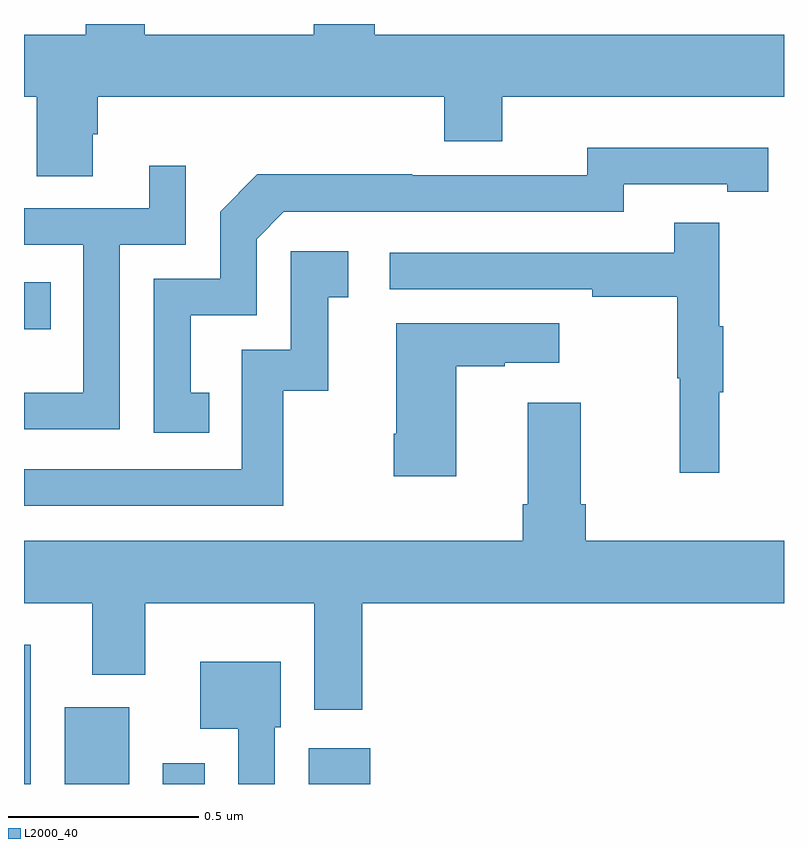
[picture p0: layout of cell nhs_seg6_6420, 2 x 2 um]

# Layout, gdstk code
import gdstk
lib = gdstk.Library(unit=1e-6, precision=1e-09)
def R(c, l, rs):  # rectangles x0, y0, x1, y1
    for r in rs: c.add(gdstk.rectangle(r[:2], r[2:], *l))
def P(c, l, *ps):  # polygons
    for p in ps: c.add(gdstk.Polygon(p, *l))
L2000_40 = (2000, 40)

nhs_seg6_6420 = lib.new_cell('nhs_seg6_6420')
R(nhs_seg6_6420, L2000_40, [(195,973.5,195.018,973.867), (195.107,973.5,195.277,973.702), (195.365,973.5,195.475,973.555), (195.749,973.5,195.911,973.594), (195,974.697,195.071,974.82)])
P(nhs_seg6_6420, L2000_40, [(195.181,975.21),(195.194,975.21),(195.194,975.308),(196.106,975.308),(196.106,975.191),(196.258,975.191),(196.258,975.308),(197,975.308),(197,975.472),(195.923,975.472),(195.923,975.5),(195.763,975.5),(195.763,975.472),(195.318,975.472),(195.318,975.5),(195.163,975.5),(195.163,975.472),(195,975.472),(195,975.308),(195.034,975.308),(195.034,975.1),(195.181,975.1)],
  [(195.488,974.529),(195.439,974.529),(195.439,974.733),(195.612,974.733),(195.612,974.934),(195.684,975.006),(196.578,975.006),(196.578,975.078),(196.85,975.078),(196.85,975.058),(196.958,975.058),(196.958,975.174),(196.85,975.174),(196.85,975.175),(196.482,975.175),(196.482,975.102),(196.022,975.102),(196.022,975.104),(195.614,975.104),(195.516,975.006),(195.516,974.829),(195.342,974.829),(195.342,974.424),(195.488,974.424)],
  [(195.252,974.919),(195.426,974.919),(195.426,975.127),(195.329,975.127),(195.329,975.015),(195,975.015),(195,974.919),(195.156,974.919),(195.156,974.53),(195,974.53),(195,974.433),(195.252,974.433)],
  [(196.829,974.531),(196.84,974.531),(196.84,974.705),(196.829,974.705),(196.829,974.977),(196.711,974.977),(196.711,974.898),(195.963,974.898),(195.963,974.802),(196.495,974.802),(196.495,974.782),(196.719,974.782),(196.719,974.568),(196.726,974.568),(196.726,974.319),(196.829,974.319)],
  [(195.682,974.535),(195.8,974.535),(195.8,974.781),(195.853,974.781),(195.853,974.902),(195.702,974.902),(195.702,974.643),(195.573,974.643),(195.573,974.328),(195,974.328),(195,974.232),(195.682,974.232)],
  [(196.138,974.599),(196.265,974.599),(196.265,974.609),(196.408,974.609),(196.408,974.713),(195.98,974.713),(195.98,974.422),(195.973,974.422),(195.973,974.31),(196.138,974.31)],
  [(195.89,973.976),(197,973.976),(197,974.14),(196.478,974.14),(196.478,974.236),(196.465,974.236),(196.465,974.503),(196.325,974.503),(196.325,974.236),(196.313,974.236),(196.313,974.14),(195,974.14),(195,973.976),(195.179,973.976),(195.179,973.787),(195.319,973.787),(195.319,973.976),(195.764,973.976),(195.764,973.695),(195.89,973.695)],
  [(195.66,973.65),(195.676,973.65),(195.676,973.822),(195.464,973.822),(195.464,973.646),(195.564,973.646),(195.564,973.5),(195.66,973.5)])

lib.write_gds('nhs_seg6_6420.gds')
